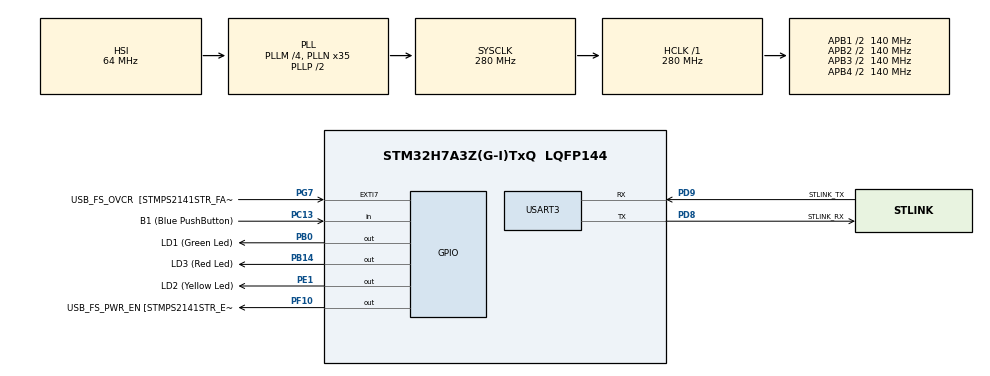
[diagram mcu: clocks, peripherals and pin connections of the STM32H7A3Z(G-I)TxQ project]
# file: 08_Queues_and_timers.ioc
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Mcu.Family=STM32H7
Mcu.Name=STM32H7A3Z(G-I)TxQ
Mcu.Package=LQFP144
NVIC.PriorityGroup=NVIC_PRIORITYGROUP_4
NVIC.TIM6_DAC_IRQn=true\:15\:0\:false\:false\:true\:false\:true\:true
NVIC.TimeBase=TIM6_DAC_IRQn
NVIC.TimeBaseIP=TIM6
NVIC.USART3_IRQn=true\:6\:0\:true\:false\:true\:true\:true\:true
PA10.GPIO_Label=USB_FS_ID [ZX62RD-AB-5P8_ID]
PA10.Signal=USB_OTG_HS_ID
PA11.GPIO_Label=USB_FS_N [USBLC6-2SC6_IO_1]
PA11.Signal=USB_OTG_HS_DM
PA12.GPIO_Label=USB_FS_P [USBLC6-2SC6_IO_2]
PA12.Signal=USB_OTG_HS_DP
PA9.GPIO_Label=USB_FS_VBUS  [ZX62RD-AB-5P8_VBUS]
PA9.Signal=USB_OTG_HS_VBUS
PB0.GPIO_Label=LD1 (Green Led)
PB0.Signal=GPIO_Output
PB14.GPIO_Label=LD3 (Red Led)
PB14.Signal=GPIO_Output
PC13.GPIO_Label=B1 (Blue PushButton)
PC13.Signal=GPIO_Input
PC14-OSC32_IN.GPIO_Label=OSC32_IN
PC14-OSC32_IN.Signal=RCC_OSC32_IN
PC15-OSC32_OUT.GPIO_Label=OSC32_OUT
PC15-OSC32_OUT.Signal=RCC_OSC32_OUT
PD8.GPIO_Label=STLINK_RX
PD8.Mode=Asynchronous
PD8.Signal=USART3_TX
PD9.GPIO_Label=STLINK_TX
PD9.Mode=Asynchronous
PD9.Signal=USART3_RX
PE1.GPIO_Label=LD2 (Yellow Led)
PE1.Signal=GPIO_Output
PF10.GPIO_Label=USB_FS_PWR_EN [STMPS2141STR_EN]
PF10.Signal=GPIO_Output
PG7.GPIO_Label=USB_FS_OVCR  [STMPS2141STR_FAULT]
PG7.Signal=GPXTI7
PH0-OSC_IN.GPIO_Label=PH0-MCU
PH0-OSC_IN.Signal=RCC_OSC_IN
PH1-OSC_OUT.GPIO_Label=PH1-MCU
PH1-OSC_OUT.Signal=RCC_OSC_OUT
ProjectManager.HeapSize=0x200
ProjectManager.StackSize=0x400
ProjectManager.TargetToolchain=STM32CubeIDE
RCC.ADCFreq_Value=129000000
RCC.APB1Freq_Value=140000000
RCC.APB2Freq_Value=140000000
RCC.APB3Freq_Value=140000000
RCC.APB4Freq_Value=140000000
RCC.CDPPRE=RCC_APB3_DIV2
RCC.CDPPRE1=RCC_APB1_DIV2
RCC.CDPPRE2=RCC_APB2_DIV2
RCC.CortexFreq_Value=280000000
RCC.DIVM1=4
RCC.DIVM3=1
RCC.DIVN1=35
RCC.DIVN3=24
RCC.DIVQ1=4
RCC.HCLKFreq_Value=280000000
RCC.HSE_VALUE=8000000
RCC.PLLFRACN=0
RCC.PWR_Regulator_Voltage_Scale=PWR_REGULATOR_VOLTAGE_SCALE0
RCC.SRDPPRE=RCC_APB4_DIV2
RCC.SYSCLKFreq_VALUE=280000000
RCC.SYSCLKSource=RCC_SYSCLKSOURCE_PLLCLK
RCC.SupplySource=PWR_DIRECT_SMPS_SUPPLY
RCC.USBCLockSelection=RCC_USBCLKSOURCE_HSI48
RCC.USBFreq_Value=48000000
RTC.HourFormat=RTC_HOURFORMAT_12
USART3.VirtualMode-Asynchronous=VM_ASYNC
VP_RTC_VS_RTC_Activate.Mode=RTC_Enabled
VP_SYS_VS_tim6.Mode=TIM6
board=NUCLEO-H7A3ZI-Q

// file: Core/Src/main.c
/* USER CODE BEGIN Header */
/**
  ******************************************************************************
  * @file           : main.c
  * @brief          : Main program body
  ******************************************************************************
  * @attention
  *
  * Copyright (c) 2023 STMicroelectronics.
  * All rights reserved.
  *
  * This software is licensed under terms that can be found in the LICENSE file
  * in the root directory of this software component.
  * If no LICENSE file comes with this software, it is provided AS-IS.
  *
  ******************************************************************************
  */
/* USER CODE END Header */
#include "main.h"

/* USER CODE BEGIN Includes */
#include "stdio.h"
#include "stdint.h"

//#include "FreeRTOSConfig.h"

/* USER CODE END Includes */

RTC_HandleTypeDef hrtc;

UART_HandleTypeDef huart3;

/* USER CODE BEGIN PV */
TaskHandle_t handle_menu_task;
TaskHandle_t handle_cmd_task;
TaskHandle_t handle_print_task;
TaskHandle_t handle_led_task;
TaskHandle_t handle_rtc_task;

//software timer handles
TimerHandle_t handle_led_timer[4];

QueueHandle_t q_data;
QueueHandle_t q_print;

volatile uint8_t user_data;

state_t curr_state = sMainMenu;

/* USER CODE END PV */

void SystemClock_Config(void);
static void MX_GPIO_Init(void);
static void MX_RTC_Init(void);
static void MX_USART3_UART_Init(void);
/* USER CODE BEGIN PFP */
void led_effect_callback(TimerHandle_t xTimer);

/* USER CODE END PFP */

int main(void)
{

  /* MCU Configuration--------------------------------------------------------*/

  /* Reset of all peripherals, Initializes the Flash interface and the Systick. */
  HAL_Init();

  /* Configure the system clock */
  SystemClock_Config();

  /* Initialize all configured peripherals */
  MX_GPIO_Init();
  MX_RTC_Init();
  MX_USART3_UART_Init();
  /* USER CODE BEGIN 2 */

  /************** Creation of the Tasks ********/
  BaseType_t status;

   status = xTaskCreate(menu_task,"menu task",200,"100",2,&handle_menu_task);

  configASSERT(status  == pdPASS);

  status = xTaskCreate(cmd_task, "cmd task", 250, NULL, 2, &handle_cmd_task);

  configASSERT(status  == pdPASS);

  status = xTaskCreate(print_task, "Print task", 250, NULL, 2, &handle_print_task);

  configASSERT(status == pdPASS);

  status = xTaskCreate(led_task, "led task", 250, NULL, 2, &handle_led_task);

  configASSERT(status == pdPASS);

//  status = xTaskCreate(rtc_task, "rtc task", 250, NULL, 2, &handle_rtc_task);
//
//  configASSERT(status == pdPASS);

  q_data = xQueueCreate(10,sizeof(char));

  configASSERT(q_data != NULL);

  q_print = xQueueCreate(10,sizeof(size_t));

  configASSERT(q_print !=NULL);

  /* String transmission */

//  HAL_UART_Transmit(&huart3, (uint8_t*)"Hello",5,HAL_MAX_DELAY);

  // Create software timers for LED effects

  for(int i=0;i<4;i++)
	  handle_led_timer[i] = xTimerCreate("Timer-1",pdMS_TO_TICKS(100),pdTRUE,(void*)(i+1),led_effect_callback);

  //starting receing data
  HAL_UART_Receive_IT(&huart3,(uint8_t *) &user_data, 1);

  //Starting Scheduler
  vTaskStartScheduler();

  /* USER CODE END 2 */

  /* Infinite loop */
  while (1)
  {

  }
}

void SystemClock_Config(void)
{
  RCC_OscInitTypeDef RCC_OscInitStruct = {0};
  RCC_ClkInitTypeDef RCC_ClkInitStruct = {0};

  /*AXI clock gating */
  RCC->CKGAENR = 0xFFFFFFFF;

  /** Supply configuration update enable
  */
  HAL_PWREx_ConfigSupply(PWR_DIRECT_SMPS_SUPPLY);

  /** Configure the main internal regulator output voltage
  */
  __HAL_PWR_VOLTAGESCALING_CONFIG(PWR_REGULATOR_VOLTAGE_SCALE0);

  while(!__HAL_PWR_GET_FLAG(PWR_FLAG_VOSRDY)) {}

  /** Initializes the RCC Oscillators according to the specified parameters
  * in the RCC_OscInitTypeDef structure.
  */
  RCC_OscInitStruct.OscillatorType = RCC_OSCILLATORTYPE_HSI|RCC_OSCILLATORTYPE_LSI;
  RCC_OscInitStruct.HSIState = RCC_HSI_DIV1;
  RCC_OscInitStruct.HSICalibrationValue = 64;
  RCC_OscInitStruct.LSIState = RCC_LSI_ON;
  RCC_OscInitStruct.PLL.PLLState = RCC_PLL_ON;
  RCC_OscInitStruct.PLL.PLLSource = RCC_PLLSOURCE_HSI;
  RCC_OscInitStruct.PLL.PLLM = 4;
  RCC_OscInitStruct.PLL.PLLN = 35;
  RCC_OscInitStruct.PLL.PLLP = 2;
  RCC_OscInitStruct.PLL.PLLQ = 4;
  RCC_OscInitStruct.PLL.PLLR = 2;
  RCC_OscInitStruct.PLL.PLLRGE = RCC_PLL1VCIRANGE_3;
  RCC_OscInitStruct.PLL.PLLVCOSEL = RCC_PLL1VCOWIDE;
  RCC_OscInitStruct.PLL.PLLFRACN = 0;
  if (HAL_RCC_OscConfig(&RCC_OscInitStruct) != HAL_OK)
  {
    Error_Handler();
  }

  /** Initializes the CPU, AHB and APB buses clocks
  */
  RCC_ClkInitStruct.ClockType = RCC_CLOCKTYPE_HCLK|RCC_CLOCKTYPE_SYSCLK
                              |RCC_CLOCKTYPE_PCLK1|RCC_CLOCKTYPE_PCLK2
                              |RCC_CLOCKTYPE_D3PCLK1|RCC_CLOCKTYPE_D1PCLK1;
  RCC_ClkInitStruct.SYSCLKSource = RCC_SYSCLKSOURCE_PLLCLK;
  RCC_ClkInitStruct.SYSCLKDivider = RCC_SYSCLK_DIV1;
  RCC_ClkInitStruct.AHBCLKDivider = RCC_HCLK_DIV1;
  RCC_ClkInitStruct.APB3CLKDivider = RCC_APB3_DIV2;
  RCC_ClkInitStruct.APB1CLKDivider = RCC_APB1_DIV2;
  RCC_ClkInitStruct.APB2CLKDivider = RCC_APB2_DIV2;
  RCC_ClkInitStruct.APB4CLKDivider = RCC_APB4_DIV2;

  if (HAL_RCC_ClockConfig(&RCC_ClkInitStruct, FLASH_LATENCY_7) != HAL_OK)
  {
    Error_Handler();
  }
}

static void MX_RTC_Init(void)
{

  /** Initialize RTC Only
  */
  hrtc.Instance = RTC;
  hrtc.Init.HourFormat = RTC_HOURFORMAT_12;
  hrtc.Init.AsynchPrediv = 127;
  hrtc.Init.SynchPrediv = 255;
  hrtc.Init.OutPut = RTC_OUTPUT_DISABLE;
  hrtc.Init.OutPutPolarity = RTC_OUTPUT_POLARITY_HIGH;
  hrtc.Init.OutPutType = RTC_OUTPUT_TYPE_OPENDRAIN;
  hrtc.Init.OutPutRemap = RTC_OUTPUT_REMAP_NONE;
  if (HAL_RTC_Init(&hrtc) != HAL_OK)
  {
    Error_Handler();
  }

}

static void MX_USART3_UART_Init(void)
{

  huart3.Instance = USART3;
  huart3.Init.BaudRate = 115200;
  huart3.Init.WordLength = UART_WORDLENGTH_8B;
  huart3.Init.StopBits = UART_STOPBITS_1;
  huart3.Init.Parity = UART_PARITY_NONE;
  huart3.Init.Mode = UART_MODE_TX_RX;
  huart3.Init.HwFlowCtl = UART_HWCONTROL_NONE;
  huart3.Init.OverSampling = UART_OVERSAMPLING_16;
  huart3.Init.OneBitSampling = UART_ONE_BIT_SAMPLE_DISABLE;
  huart3.Init.ClockPrescaler = UART_PRESCALER_DIV1;
  huart3.AdvancedInit.AdvFeatureInit = UART_ADVFEATURE_NO_INIT;
  if (HAL_UART_Init(&huart3) != HAL_OK)
  {
    Error_Handler();
  }
  if (HAL_UARTEx_SetTxFifoThreshold(&huart3, UART_TXFIFO_THRESHOLD_1_8) != HAL_OK)
  {
    Error_Handler();
  }
  if (HAL_UARTEx_SetRxFifoThreshold(&huart3, UART_RXFIFO_THRESHOLD_1_8) != HAL_OK)
  {
    Error_Handler();
  }
  if (HAL_UARTEx_DisableFifoMode(&huart3) != HAL_OK)
  {
    Error_Handler();
  }

}

static void MX_GPIO_Init(void)
{
  GPIO_InitTypeDef GPIO_InitStruct = {0};

  /* GPIO Ports Clock Enable */
  __HAL_RCC_GPIOC_CLK_ENABLE();
  __HAL_RCC_GPIOF_CLK_ENABLE();
  __HAL_RCC_GPIOH_CLK_ENABLE();
  __HAL_RCC_GPIOB_CLK_ENABLE();
  __HAL_RCC_GPIOD_CLK_ENABLE();
  __HAL_RCC_GPIOG_CLK_ENABLE();
  __HAL_RCC_GPIOA_CLK_ENABLE();
  __HAL_RCC_GPIOE_CLK_ENABLE();

  /*Configure GPIO pin Output Level */
  HAL_GPIO_WritePin(USB_FS_PWR_EN_GPIO_Port, USB_FS_PWR_EN_Pin, GPIO_PIN_RESET);

  /*Configure GPIO pin Output Level */
  HAL_GPIO_WritePin(GPIOB, LD1_Pin|LD3_Pin, GPIO_PIN_RESET);

  /*Configure GPIO pin Output Level */
  HAL_GPIO_WritePin(LD2_GPIO_Port, LD2_Pin, GPIO_PIN_RESET);

  /*Configure GPIO pin : B1_Pin */
  GPIO_InitStruct.Pin = B1_Pin;
  GPIO_InitStruct.Mode = GPIO_MODE_INPUT;
  GPIO_InitStruct.Pull = GPIO_NOPULL;
  HAL_GPIO_Init(B1_GPIO_Port, &GPIO_InitStruct);

  /*Configure GPIO pin : USB_FS_PWR_EN_Pin */
  GPIO_InitStruct.Pin = USB_FS_PWR_EN_Pin;
  GPIO_InitStruct.Mode = GPIO_MODE_OUTPUT_PP;
  GPIO_InitStruct.Pull = GPIO_NOPULL;
  GPIO_InitStruct.Speed = GPIO_SPEED_FREQ_LOW;
  HAL_GPIO_Init(USB_FS_PWR_EN_GPIO_Port, &GPIO_InitStruct);

  /*Configure GPIO pins : LD1_Pin LD3_Pin */
  GPIO_InitStruct.Pin = LD1_Pin|LD3_Pin;
  GPIO_InitStruct.Mode = GPIO_MODE_OUTPUT_PP;
  GPIO_InitStruct.Pull = GPIO_NOPULL;
  GPIO_InitStruct.Speed = GPIO_SPEED_FREQ_LOW;
  HAL_GPIO_Init(GPIOB, &GPIO_InitStruct);

  /*Configure GPIO pin : USB_FS_OVCR_Pin */
  GPIO_InitStruct.Pin = USB_FS_OVCR_Pin;
  GPIO_InitStruct.Mode = GPIO_MODE_IT_RISING;
  GPIO_InitStruct.Pull = GPIO_NOPULL;
  HAL_GPIO_Init(USB_FS_OVCR_GPIO_Port, &GPIO_InitStruct);

  /*Configure GPIO pin : USB_FS_ID_Pin */
  GPIO_InitStruct.Pin = USB_FS_ID_Pin;
  GPIO_InitStruct.Mode = GPIO_MODE_AF_PP;
  GPIO_InitStruct.Pull = GPIO_NOPULL;
  GPIO_InitStruct.Speed = GPIO_SPEED_FREQ_LOW;
  GPIO_InitStruct.Alternate = GPIO_AF10_OTG1_HS;
  HAL_GPIO_Init(USB_FS_ID_GPIO_Port, &GPIO_InitStruct);

  /*Configure GPIO pins : USB_FS_N_Pin USB_FS_P_Pin */
  GPIO_InitStruct.Pin = USB_FS_N_Pin|USB_FS_P_Pin;
  GPIO_InitStruct.Mode = GPIO_MODE_AF_PP;
  GPIO_InitStruct.Pull = GPIO_NOPULL;
  GPIO_InitStruct.Speed = GPIO_SPEED_FREQ_LOW;
  HAL_GPIO_Init(GPIOA, &GPIO_InitStruct);

  /*Configure GPIO pin : LD2_Pin */
  GPIO_InitStruct.Pin = LD2_Pin;
  GPIO_InitStruct.Mode = GPIO_MODE_OUTPUT_PP;
  GPIO_InitStruct.Pull = GPIO_NOPULL;
  GPIO_InitStruct.Speed = GPIO_SPEED_FREQ_LOW;
  HAL_GPIO_Init(LD2_GPIO_Port, &GPIO_InitStruct);

}

/* USER CODE BEGIN 4 */

/* Timer CallBack */

void led_effect_callback(TimerHandle_t xTimer){

	int id;
	id = (uint32_t)pvTimerGetTimerID(xTimer);

	switch(id){
	case 1:
		LED_effect1();
	case 2:
		LED_effect2();
	case 3:
		LED_effect3();
	case 4:
		LED_effect4();
	}
}

void HAL_UART_RxCpltCallback(UART_HandleTypeDef *huart)
{

	if(huart == &huart3){
		uint8_t dummy;

		if( xQueueIsQueueFullFromISR(q_data) == pdFALSE){

			/* Queue is not full */
			xQueueSendFromISR(q_data,(void *)&user_data,NULL);

		}
		else{
			/* Queue is full */

			if(user_data == '\n' ){

				/* make sure that last data byte of queue is '\n' */
				xQueueReceiveFromISR(q_data, (void*)&dummy, NULL);
				xQueueSendFromISR(q_data,(void *)&user_data,NULL);
			}

		}

		if(user_data == '\r'){

			xTaskNotifyFromISR(handle_cmd_task,0,eNoAction,NULL);

		}

		HAL_UART_Receive_IT(huart,(uint8_t*)&user_data, 1);

	}

}

/* USER CODE END 4 */

void HAL_TIM_PeriodElapsedCallback(TIM_HandleTypeDef *htim)
{
  if (htim->Instance == TIM6) {
    HAL_IncTick();
  }
}

void Error_Handler(void)
{
  __disable_irq();
  while (1)
  {
  }
}
